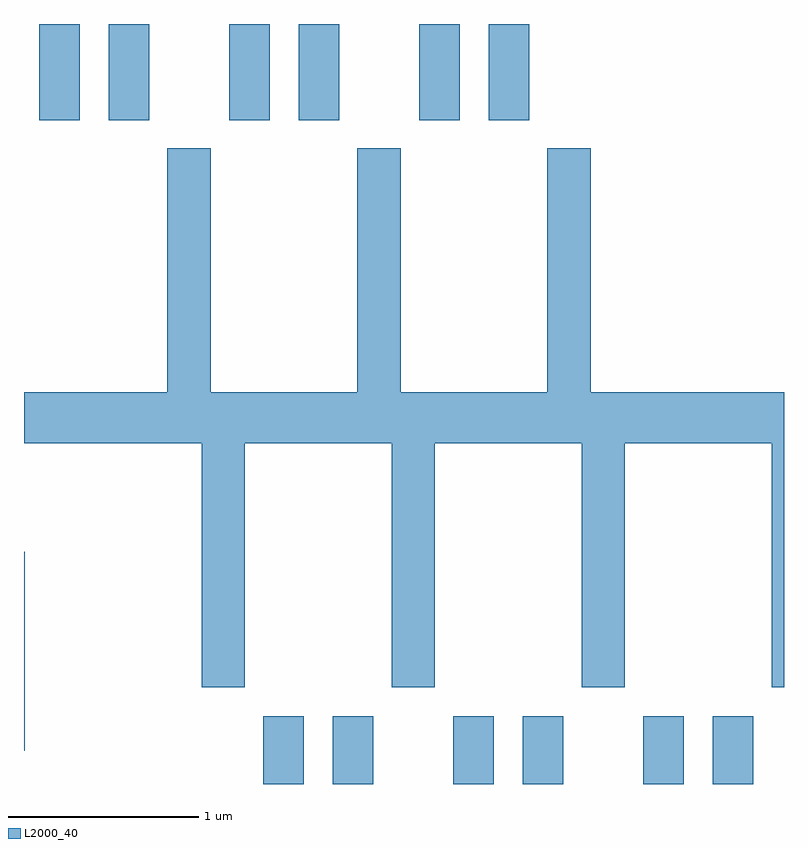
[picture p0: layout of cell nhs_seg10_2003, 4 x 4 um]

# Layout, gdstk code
import gdstk
lib = gdstk.Library(unit=1e-6, precision=1e-09)
def R(c, l, rs):  # rectangles x0, y0, x1, y1
    for r in rs: c.add(gdstk.rectangle(r[:2], r[2:], *l))
def P(c, l, *ps):  # polygons
    for p in ps: c.add(gdstk.Polygon(p, *l))
L2000_40 = (2000, 40)

nhs_seg10_2003 = lib.new_cell('nhs_seg10_2003')
R(nhs_seg10_2003, L2000_40, [(244.871,2156.522,245.084,2156.879), (245.236,2156.522,245.449,2156.879), (245.871,2156.522,246.084,2156.879), (246.236,2156.522,246.449,2156.879), (246.871,2156.522,247.084,2156.879), (247.236,2156.522,247.449,2156.879), (243.611,2156.696,243.614,2157.744), (243.691,2160.016,243.904,2160.522), (244.056,2160.016,244.269,2160.522), (244.691,2160.016,244.904,2160.522), (245.056,2160.016,245.269,2160.522), (245.691,2160.016,245.904,2160.522), (246.056,2160.016,246.269,2160.522)])
P(nhs_seg10_2003, L2000_40, [(244.774,2158.316),(245.546,2158.316),(245.546,2157.031),(245.774,2157.031),(245.774,2158.316),(246.546,2158.316),(246.546,2157.031),(246.774,2157.031),(246.774,2158.316),(247.546,2158.316),(247.546,2157.031),(247.611,2157.031),(247.611,2158.584),(246.594,2158.584),(246.594,2159.869),(246.366,2159.869),(246.366,2158.584),(245.594,2158.584),(245.594,2159.869),(245.366,2159.869),(245.366,2158.584),(244.594,2158.584),(244.594,2159.869),(244.366,2159.869),(244.366,2158.584),(243.611,2158.584),(243.611,2158.316),(244.546,2158.316),(244.546,2157.031),(244.774,2157.031)])

lib.write_gds('nhs_seg10_2003.gds')
